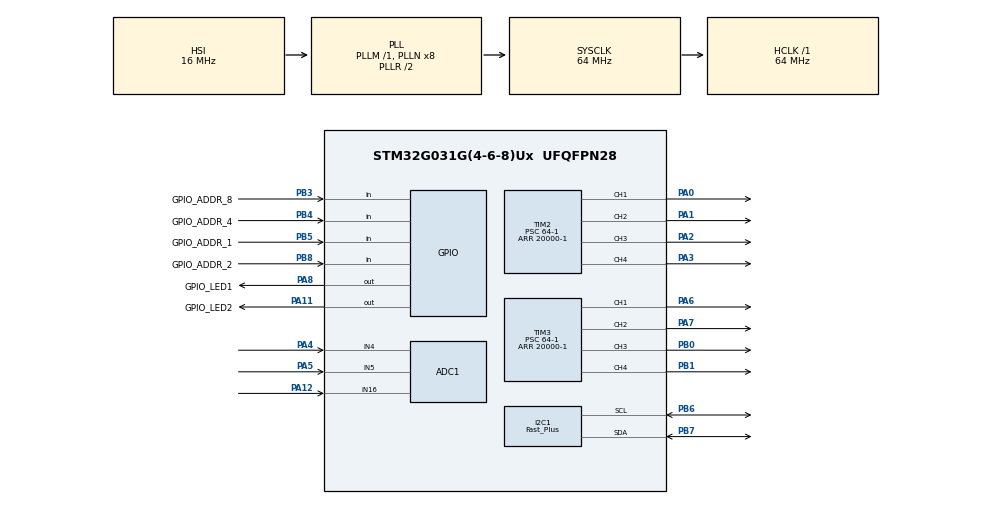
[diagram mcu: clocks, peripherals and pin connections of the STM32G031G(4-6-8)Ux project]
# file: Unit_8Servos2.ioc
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ADC1.ContinuousConvMode=DISABLE
ADC1.NbrOfConversion=1
ADC1.NbrOfConversionFlag=0
ADC1.SamplingTimeCommon1=ADC_SAMPLETIME_160CYCLES_5
ADC1.SelectedChannel=ADC_CHANNEL_4|ADC_CHANNEL_5|ADC_CHANNEL_VREFINT|ADC_CHANNEL_16
ADC1.Sequencer=NOT_FULLY_CONFIGURABLE
ADC1.master=1
I2C1.I2C_Speed_Mode=I2C_Fast_Plus
I2C1.OwnAddress=0x25
I2C1.Timing=0x00910B1C
IWDG.Prescaler=IWDG_PRESCALER_16
Mcu.Family=STM32G0
Mcu.Name=STM32G031G(4-6-8)Ux
Mcu.Package=UFQFPN28
NVIC.I2C1_IRQn=true\:0\:0\:false\:false\:true\:true\:true\:true
PA0.Signal=S_TIM2_CH1_ETR
PA1.Signal=S_TIM2_CH2
PA11\ [PA9].GPIO_Label=GPIO_LED2
PA11\ [PA9].GPIO_Speed=GPIO_SPEED_FREQ_HIGH
PA11\ [PA9].PinState=GPIO_PIN_RESET
PA11\ [PA9].Signal=GPIO_Output
PA12\ [PA10].Mode=IN16
PA12\ [PA10].Signal=ADC1_IN16
PA13.Mode=Serial_Wire
PA13.Signal=SYS_SWDIO
PA14-BOOT0.Mode=Serial_Wire
PA14-BOOT0.Signal=SYS_SWCLK
PA2.Signal=S_TIM2_CH3
PA3.Signal=S_TIM2_CH4
PA4.Mode=IN4
PA4.Signal=ADC1_IN4
PA5.Mode=IN5
PA5.Signal=ADC1_IN5
PA6.Signal=S_TIM3_CH1
PA7.Signal=S_TIM3_CH2
PA8.GPIO_Label=GPIO_LED1
PA8.GPIO_ModeDefaultOutputPP=GPIO_MODE_OUTPUT_PP
PA8.GPIO_PuPd=GPIO_NOPULL
PA8.GPIO_Speed=GPIO_SPEED_FREQ_HIGH
PA8.PinState=GPIO_PIN_RESET
PA8.Signal=GPIO_Output
PB0.Signal=S_TIM3_CH3
PB1.Signal=S_TIM3_CH4
PB3.GPIO_Label=GPIO_ADDR_8
PB3.Signal=GPIO_Input
PB4.GPIO_Label=GPIO_ADDR_4
PB4.Signal=GPIO_Input
PB5.GPIO_Label=GPIO_ADDR_1
PB5.Signal=GPIO_Input
PB6.Mode=I2C
PB6.Signal=I2C1_SCL
PB7.Mode=I2C
PB7.Signal=I2C1_SDA
PB8.GPIO_Label=GPIO_ADDR_2
PB8.Signal=GPIO_Input
ProjectManager.HeapSize=0x200
ProjectManager.StackSize=0x400
ProjectManager.TargetToolchain=STM32CubeIDE
RCC.ADCFreq_Value=64000000
RCC.AHBFreq_Value=64000000
RCC.CortexFreq_Value=64000000
RCC.EXTERNAL_CLOCK_VALUE=12288000
RCC.HCLKFreq_Value=64000000
RCC.HSE_VALUE=8000000
RCC.HSI_VALUE=16000000
RCC.LSE_VALUE=32768
RCC.SYSCLKFreq_VALUE=64000000
RCC.SYSCLKSource=RCC_SYSCLKSOURCE_PLLCLK
RCC.VCOOutputFreq_Value=128000000
SH.S_TIM2_CH1_ETR.0=TIM2_CH1,PWM Generation1 CH1
SH.S_TIM2_CH2.0=TIM2_CH2,PWM Generation2 CH2
SH.S_TIM2_CH3.0=TIM2_CH3,PWM Generation3 CH3
SH.S_TIM2_CH4.0=TIM2_CH4,PWM Generation4 CH4
SH.S_TIM3_CH1.0=TIM3_CH1,PWM Generation1 CH1
SH.S_TIM3_CH2.0=TIM3_CH2,PWM Generation2 CH2
SH.S_TIM3_CH3.0=TIM3_CH3,PWM Generation3 CH3
SH.S_TIM3_CH4.0=TIM3_CH4,PWM Generation4 CH4
TIM2.Channel-PWM\ Generation1\ CH1=TIM_CHANNEL_1
TIM2.Channel-PWM\ Generation2\ CH2=TIM_CHANNEL_2
TIM2.Channel-PWM\ Generation3\ CH3=TIM_CHANNEL_3
TIM2.Channel-PWM\ Generation4\ CH4=TIM_CHANNEL_4
TIM2.Period=20000-1
TIM2.Prescaler=64-1
TIM2.Pulse-PWM\ Generation1\ CH1=500
TIM2.Pulse-PWM\ Generation2\ CH2=500
TIM2.Pulse-PWM\ Generation3\ CH3=500
TIM2.Pulse-PWM\ Generation4\ CH4=500
TIM3.Channel-PWM\ Generation1\ CH1=TIM_CHANNEL_1
TIM3.Channel-PWM\ Generation2\ CH2=TIM_CHANNEL_2
TIM3.Channel-PWM\ Generation3\ CH3=TIM_CHANNEL_3
TIM3.Channel-PWM\ Generation4\ CH4=TIM_CHANNEL_4
TIM3.Period=20000-1
TIM3.Prescaler=64-1
TIM3.Pulse-PWM\ Generation1\ CH1=500
TIM3.Pulse-PWM\ Generation2\ CH2=500
TIM3.Pulse-PWM\ Generation3\ CH3=500
TIM3.Pulse-PWM\ Generation4\ CH4=500
VP_ADC1_Vref_Input.Mode=IN-Vrefint
VP_IWDG_VS_IWDG.Mode=IWDG_Activate
VP_TIM2_VS_ClockSourceINT.Mode=Internal
VP_TIM3_VS_ClockSourceINT.Mode=Internal
board=custom

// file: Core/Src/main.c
/* USER CODE BEGIN Header */
/**
 ******************************************************************************
 * @file           : main.c
 * @brief          : Main program body
 ******************************************************************************
 * @attention
 *
 * Copyright (c) 2025 STMicroelectronics.
 * All rights reserved.
 *
 * This software is licensed under terms that can be found in the LICENSE file
 * in the root directory of this software component.
 * If no LICENSE file comes with this software, it is provided AS-IS.
 *
 ******************************************************************************
 */
/* USER CODE END Header */
#include "main.h"
#include "adc.h"
#include "i2c.h"
#include "iwdg.h"
#include "tim.h"
#include "gpio.h"

/* USER CODE BEGIN Includes */
#include "user_adc.h"
#include "user_input.h"
#include "user_output.h"
#include "user_pwm.h"
#include "user_sys.h"
#include "user_rgb.h"
#include "user_servo.h"
#include "user_i2c.h"
#include "user_i2c_callback.h"
#include "user_i2c_addr.h"
#include "user_time.h"
/* USER CODE END Includes */

/* USER CODE BEGIN PD */

#define APPLICATION_ADDRESS (0x08001800)  // Application start address in flash memory

/* USER CODE END PD */

void SystemClock_Config(void);

/* USER CODE BEGIN 0 */

/**
 * @brief Set the Interrupt Vector Table for the application in SRAM.
 * @param None
 * @retval None
 */
void iap_set(void)
{
    uint8_t i;                                     // Loop index
    uint32_t *pVecTab = (uint32_t *)(0x20000000);  // Pointer to the vector table in SRAM

    // Copy the interrupt vector table from the application address to SRAM
    for (i = 0; i < 48; i++) {
        // Copy each vector entry to the SRAM vector table
        *(pVecTab++) = *(__IO uint32_t *)(APPLICATION_ADDRESS + (i << 2));
    }

    // Enable the SYSCFG peripheral clock
    __HAL_RCC_SYSCFG_CLK_ENABLE();

    // Remap the memory to use SRAM for the vector table
    __HAL_SYSCFG_REMAPMEMORY_SRAM();
}

/* USER CODE END 0 */

int main(void)
{
    /* USER CODE BEGIN 1 */
    iap_set();
    /* USER CODE END 1 */

    /* MCU Configuration--------------------------------------------------------*/

    /* Reset of all peripherals, Initializes the Flash interface and the Systick. */
    HAL_Init();

    /* Configure the system clock */
    SystemClock_Config();

    /* Initialize all configured peripherals */
    MX_GPIO_Init();
    MX_ADC1_Init();
    MX_I2C1_Init();
    MX_TIM2_Init();
    MX_TIM3_Init();
    MX_IWDG_Init();
    /* USER CODE BEGIN 2 */
    HAL_ADCEx_Calibration_Start(&hadc1);
    user_sys_config_init();
    for (uint8_t i = 0; i < 8; i++) {
        user_input_init(i);
    }
    i2c_addr_init();
    user_time_init();
    read_uid();
    user_i2c_init();
    i2c1_it_enable();
    /* USER CODE END 2 */

    /* Infinite loop */
    /* USER CODE BEGIN WHILE */
    while (1) {
        i2c_addr_refresh_handler();
        i2c_timeout_handler();
        user_sys_gpio_mode_update();
        user_adc_update();
        user_time_freq_update();
        user_sys_servo_angle_update();
        user_sys_pwm_update();
        user_rgb_buffer_update();
        user_sys_rgb_update();
        user_sys_grove_led_update();
        user_sys_dc_led_update();
        /* USER CODE END WHILE */

        /* USER CODE BEGIN 3 */
        LL_IWDG_ReloadCounter(IWDG);
    }
    /* USER CODE END 3 */
}

void SystemClock_Config(void)
{
    RCC_OscInitTypeDef RCC_OscInitStruct = {0};
    RCC_ClkInitTypeDef RCC_ClkInitStruct = {0};

    /** Configure the main internal regulator output voltage
     */
    HAL_PWREx_ControlVoltageScaling(PWR_REGULATOR_VOLTAGE_SCALE1);

    /** Initializes the RCC Oscillators according to the specified parameters
     * in the RCC_OscInitTypeDef structure.
     */
    RCC_OscInitStruct.OscillatorType      = RCC_OSCILLATORTYPE_HSI | RCC_OSCILLATORTYPE_LSI;
    RCC_OscInitStruct.HSIState            = RCC_HSI_ON;
    RCC_OscInitStruct.HSIDiv              = RCC_HSI_DIV1;
    RCC_OscInitStruct.HSICalibrationValue = RCC_HSICALIBRATION_DEFAULT;
    RCC_OscInitStruct.LSIState            = RCC_LSI_ON;
    RCC_OscInitStruct.PLL.PLLState        = RCC_PLL_ON;
    RCC_OscInitStruct.PLL.PLLSource       = RCC_PLLSOURCE_HSI;
    RCC_OscInitStruct.PLL.PLLM            = RCC_PLLM_DIV1;
    RCC_OscInitStruct.PLL.PLLN            = 8;
    RCC_OscInitStruct.PLL.PLLP            = RCC_PLLP_DIV2;
    RCC_OscInitStruct.PLL.PLLQ            = RCC_PLLQ_DIV2;
    RCC_OscInitStruct.PLL.PLLR            = RCC_PLLR_DIV2;
    if (HAL_RCC_OscConfig(&RCC_OscInitStruct) != HAL_OK) {
        Error_Handler();
    }

    /** Initializes the CPU, AHB and APB buses clocks
     */
    RCC_ClkInitStruct.ClockType      = RCC_CLOCKTYPE_HCLK | RCC_CLOCKTYPE_SYSCLK | RCC_CLOCKTYPE_PCLK1;
    RCC_ClkInitStruct.SYSCLKSource   = RCC_SYSCLKSOURCE_PLLCLK;
    RCC_ClkInitStruct.AHBCLKDivider  = RCC_SYSCLK_DIV1;
    RCC_ClkInitStruct.APB1CLKDivider = RCC_HCLK_DIV1;

    if (HAL_RCC_ClockConfig(&RCC_ClkInitStruct, FLASH_LATENCY_2) != HAL_OK) {
        Error_Handler();
    }
}

void Error_Handler(void)
{
    __disable_irq();
    while (1) {
    }
}
